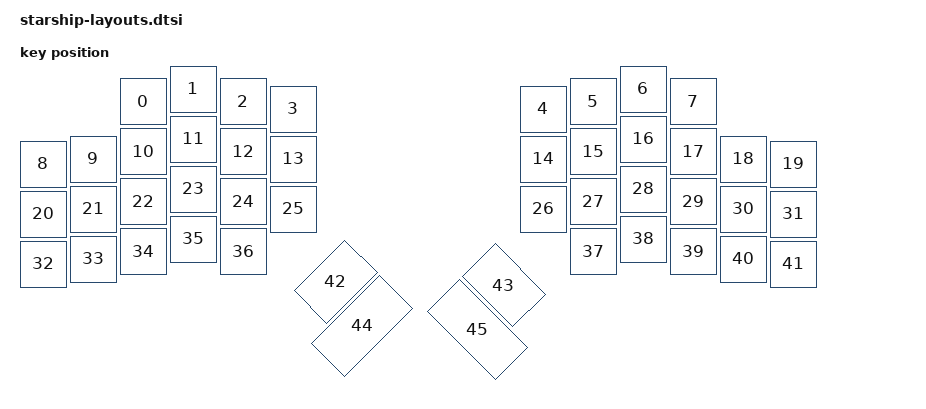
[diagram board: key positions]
#include <physical_layouts.dtsi>
/ {
  physical_layout0: physical_layout0 {
    compatible = "zmk,physical-layout";
    display-name = "Default Layout";

    keys  //                   w   h    x    y     rot    rx    ry
      = <&key_physical_attrs 100 100  200   25       0     0     0>
      , <&key_physical_attrs 100 100  300    0       0     0     0>
      , <&key_physical_attrs 100 100  400   25       0     0     0>
      , <&key_physical_attrs 100 100  500   40       0     0     0>
      , <&key_physical_attrs 100 100 1000   40       0     0     0>
      , <&key_physical_attrs 100 100 1100   25       0     0     0>
      , <&key_physical_attrs 100 100 1200    0       0     0     0>
      , <&key_physical_attrs 100 100 1300   25       0     0     0>
      , <&key_physical_attrs 100 100    0  150       0     0     0>
      , <&key_physical_attrs 100 100  100  140       0     0     0>
      , <&key_physical_attrs 100 100  200  125       0     0     0>
      , <&key_physical_attrs 100 100  300  100       0     0     0>
      , <&key_physical_attrs 100 100  400  125       0     0     0>
      , <&key_physical_attrs 100 100  500  140       0     0     0>
      , <&key_physical_attrs 100 100 1000  140       0     0     0>
      , <&key_physical_attrs 100 100 1100  125       0     0     0>
      , <&key_physical_attrs 100 100 1200  100       0     0     0>
      , <&key_physical_attrs 100 100 1300  125       0     0     0>
      , <&key_physical_attrs 100 100 1400  140       0     0     0>
      , <&key_physical_attrs 100 100 1500  150       0     0     0>
      , <&key_physical_attrs 100 100    0  250       0     0     0>
      , <&key_physical_attrs 100 100  100  240       0     0     0>
      , <&key_physical_attrs 100 100  200  225       0     0     0>
      , <&key_physical_attrs 100 100  300  200       0     0     0>
      , <&key_physical_attrs 100 100  400  225       0     0     0>
      , <&key_physical_attrs 100 100  500  240       0     0     0>
      , <&key_physical_attrs 100 100 1000  240       0     0     0>
      , <&key_physical_attrs 100 100 1100  225       0     0     0>
      , <&key_physical_attrs 100 100 1200  200       0     0     0>
      , <&key_physical_attrs 100 100 1300  225       0     0     0>
      , <&key_physical_attrs 100 100 1400  240       0     0     0>
      , <&key_physical_attrs 100 100 1500  250       0     0     0>
      , <&key_physical_attrs 100 100    0  350       0     0     0>
      , <&key_physical_attrs 100 100  100  340       0     0     0>
      , <&key_physical_attrs 100 100  200  325       0     0     0>
      , <&key_physical_attrs 100 100  300  300       0     0     0>
      , <&key_physical_attrs 100 100  400  325       0     0     0>
      , <&key_physical_attrs 100 100 1100  325       0     0     0>
      , <&key_physical_attrs 100 100 1200  300       0     0     0>
      , <&key_physical_attrs 100 100 1300  325       0     0     0>
      , <&key_physical_attrs 100 100 1400  340       0     0     0>
      , <&key_physical_attrs 100 100 1500  350       0     0     0>
      , <&key_physical_attrs 150 100  525  400 (-4500)   600   400>
      , <&key_physical_attrs 150 100  935  400    4500  1000   400>
      , <&key_physical_attrs 200 100  475  500 (-4500)   600   400>
      , <&key_physical_attrs 200 100  935  500    4500  1000   400>
      ;
  };

  position_map {
    compatible = "zmk,physical-layout-position-map";

    default_layout {
      physical-layout = <&physical_layout0>;
      positions 
        = <       0  1  2  3  4  5  6  7      >
        , < 8  9 10 11 12 13 14 15 16 17 18 19>
        , <20 21 22 23 24 25 26 27 28 29 30 31>
        , <32 33 34 35 36       37 38 39 40 41>
        , <            42       43            >
        , <            44       45            >;
    };
  };
};
